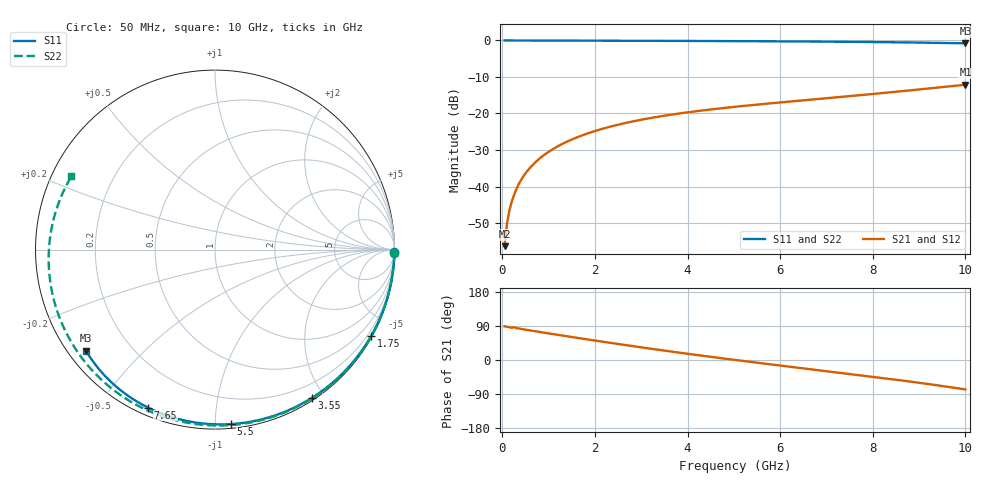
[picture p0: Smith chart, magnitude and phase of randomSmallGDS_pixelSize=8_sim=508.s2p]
! freq	dB(S11)	phase(S11)	dB(S12)	phase(S12)
!  dB(S21)	phase(S21)	dB(S22)	phase(S22)
!S-par simulation data
#  GHz  S  DB  R 50
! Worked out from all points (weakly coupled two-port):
!   200 points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, 50 MHz to 10 GHz, reference 50 ohm
!   highest |S21| = -12.13 dB at 10 GHz (marker M1); lowest = -56.3 dB at 50 MHz (marker M2)
!   lowest |S11| = -0.8 dB at 10 GHz (marker M3), VSWR 22.08, Z = 2.53 - j17.2 ohm
!   |S11| at or under -10 dB: nowhere
!   |S22| runs from -0.9 to 0.0 dB; largest |S21 - S12| = 0
!   S11 on the Smith chart (normalised r, x): 50 MHz: open; 1.75 GHz: 0.04, -3.90; 3.55 GHz: 0.03, -1.85; 5.5 GHz: 0.03, -1.10; 7.65 GHz: 0.03, -0.66; 10 GHz: 0.05, -0.34
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0.05  -0.00 -0.8  -56.34 88.9  -56.34 88.9  -0.00 -1.1
0.1  -0.00 -1.7  -50.32 87.8  -50.32 87.8  -0.00 -2.3
0.15  -0.00 -2.5  -46.79 86.7  -46.79 86.7  -0.00 -3.4
0.2  -0.00 -3.3  -44.28 85.1  -44.28 85.1  -0.01 -4.5
0.35  -0.01 -5.8  -39.48 83.2  -39.48 83.2  -0.01 -7.9
0.5  -0.01 -8.3  -36.41 80.0  -36.41 80.0  -0.02 -11.3
0.7  -0.02 -11.6  -33.52 76.0  -33.52 76.0  -0.02 -15.8
1  -0.02 -16.6  -30.50 70.2  -30.50 70.2  -0.03 -22.5
1.35  -0.03 -22.3  -27.99 63.5  -27.99 63.5  -0.04 -30.2
1.75  -0.05 -28.8  -25.87 56.0  -25.87 56.0  -0.06 -38.9
2.6  -0.08 -42.3  -22.77 40.4  -22.77 40.4  -0.10 -57.0
3.4  -0.11 -54.5  -20.81 26.5  -20.81 26.5  -0.13 -73.5
3.55  -0.11 -56.8  -20.51 23.9  -20.51 23.9  -0.14 -76.5
4.3  -0.15 -67.8  -19.20 11.6  -19.20 11.6  -0.18 -91.3
5.05  -0.18 -78.5  -18.14 -0.2  -18.14 -0.2  -0.22 -105.7
5.5  -0.21 -84.7  -17.57 -7.1  -17.57 -7.1  -0.26 -114.2
6.1  -0.25 -92.9  -16.86 -16.0  -16.86 -16.0  -0.31 -125.5
6.7  -0.30 -100.8  -16.17 -24.9  -16.17 -24.9  -0.36 -136.8
7.65  -0.39 -112.9  -15.08 -38.9  -15.08 -38.9  -0.48 -155.1
8.35  -0.48 -121.7  -14.24 -49.6  -14.24 -49.6  -0.58 -169.2
9.2  -0.62 -132.2  -13.16 -63.4  -13.16 -63.4  -0.74 172.3
10  -0.79 -141.9  -12.13 -77.7  -12.13 -77.7  -0.93 153.0
